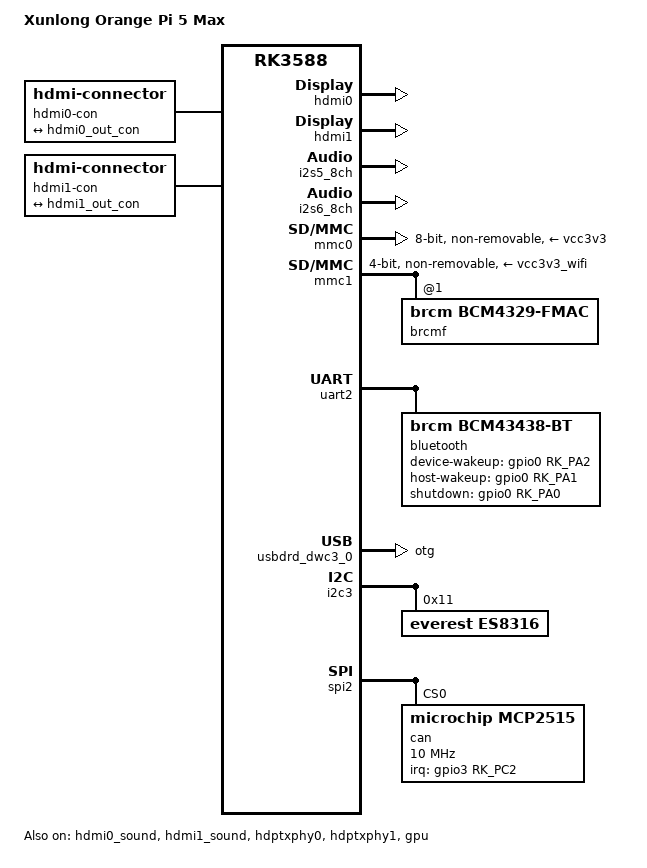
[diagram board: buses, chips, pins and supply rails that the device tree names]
// SPDX-License-Identifier: (GPL-2.0+ OR MIT)
/dts-v1/;
#include <dt-bindings/gpio/gpio.h>
#include <dt-bindings/pinctrl/rockchip.h>
#include <dt-bindings/soc/rockchip,vop2.h>
#include "rk3588-orangepi-5.dtsi"

/ {
	model = "Xunlong Orange Pi 5 Max";
	compatible = "xunlong,orangepi-5-max", "rockchip,rk3588";

	hdmi0-con {
		compatible = "hdmi-connector";
		type = "a";
		port {
			hdmi0_con_in: endpoint {
				remote-endpoint = <&hdmi0_out_con>;
			};
		};
	};

	hdmi1-con {
		compatible = "hdmi-connector";
		type = "a";
		port {
			hdmi1_con_in: endpoint {
				remote-endpoint = <&hdmi1_out_con>;
			};
		};
	};
};

&hdmi0 {
	status = "okay";
};
&hdmi0_in {
	hdmi0_in_vp0: endpoint {
		remote-endpoint = <&vp0_out_hdmi0>;
	};
};
&hdmi0_out {
	hdmi0_out_con: endpoint {
		remote-endpoint = <&hdmi0_con_in>;
	};
};
&hdmi0_sound {
	status = "okay";
};
&hdmi1 {
	pinctrl-names = "default";
	pinctrl-0 = <&hdmim0_tx1_cec &hdmim0_tx1_hpd &hdmim1_tx1_scl &hdmim1_tx1_sda>;
	status = "okay";
};
&hdmi1_in {
	hdmi1_in_vp1: endpoint {
		remote-endpoint = <&vp1_out_hdmi1>;
	};
};
&hdmi1_out {
	hdmi1_out_con: endpoint {
		remote-endpoint = <&hdmi1_con_in>;
	};
};
&hdmi1_sound {
	status = "okay";
};
&hdptxphy0 {
	status = "okay";
};
&hdptxphy1 {
	status = "okay";
};
&vp0 {
	vp0_out_hdmi0: endpoint@ROCKCHIP_VOP2_EP_HDMI0 {
		reg = <ROCKCHIP_VOP2_EP_HDMI0>;
		remote-endpoint = <&hdmi0_in_vp0>;
	};
};
&vp1 {
	vp1_out_hdmi1: endpoint@ROCKCHIP_VOP2_EP_HDMI1 {
		reg = <ROCKCHIP_VOP2_EP_HDMI1>;
		remote-endpoint = <&hdmi1_in_vp1>;
	};
};
&i2s5_8ch {
	status = "okay";
};
&i2s6_8ch {
	status = "okay";
};

&gpu {
	status = "okay";
};

&mmc0 { // eMMC
	bus-width = <8>;
	non-removable;
	vmmc-supply = <&vcc3v3>;
	vqmmc-supply = <&vccio_emmc>;
	status = "okay";
};

&mmc1 { // WiFi
	bus-width = <4>;
	cap-sd-highspeed;
	non-removable;
	disable-wp;
	vmmc-supply = <&vcc3v3_wifi>;
	vqmmc-supply = <&vccio_sd>;
	status = "okay";

	brcmf: wifi@1 {
		compatible = "brcm,bcm4329-fmac";
		reg = <1>;
	};
};

&uart2 { // Bluetooth
	status = "okay";

	bluetooth {
		compatible = "brcm,bcm43438-bt";
		device-wakeup-gpios = <&gpio0 RK_PA2 GPIO_ACTIVE_HIGH>;
		host-wakeup-gpios = <&gpio0 RK_PA1 GPIO_ACTIVE_HIGH>;
		shutdown-gpios = <&gpio0 RK_PA0 GPIO_ACTIVE_HIGH>;
	};
};

&usbdrd_dwc3_0 {
	dr_mode = "otg";
	status = "okay";
};

&i2c3 {
	status = "okay";

	es8316: es8316@11 {
		compatible = "everest,es8316";
		reg = <0x11>;
		clocks = <&cru I2S1_OUT>;
	};
};

&spi2 {
	status = "okay";

	can@0 {
		compatible = "microchip,mcp2515";
		reg = <0>;
		spi-max-frequency = <10000000>;
		interrupt-parent = <&gpio3>;
		interrupts = <RK_PC2 IRQ_TYPE_EDGE_FALLING>;
	};
};

&led_blue_pwm {
	pwms = <&pwm4 0 25000 0>;
};
&led_green_pwm {
	pwms = <&pwm5 0 25000 0>;
};

&pinctrl {
	usb {
		usb_otg_pwren: usb-otg-pwren {
			rockchip,pins = <4 RK_PB3 RK_FUNC_GPIO &pcfg_pull_none>;
		};
	};
};

